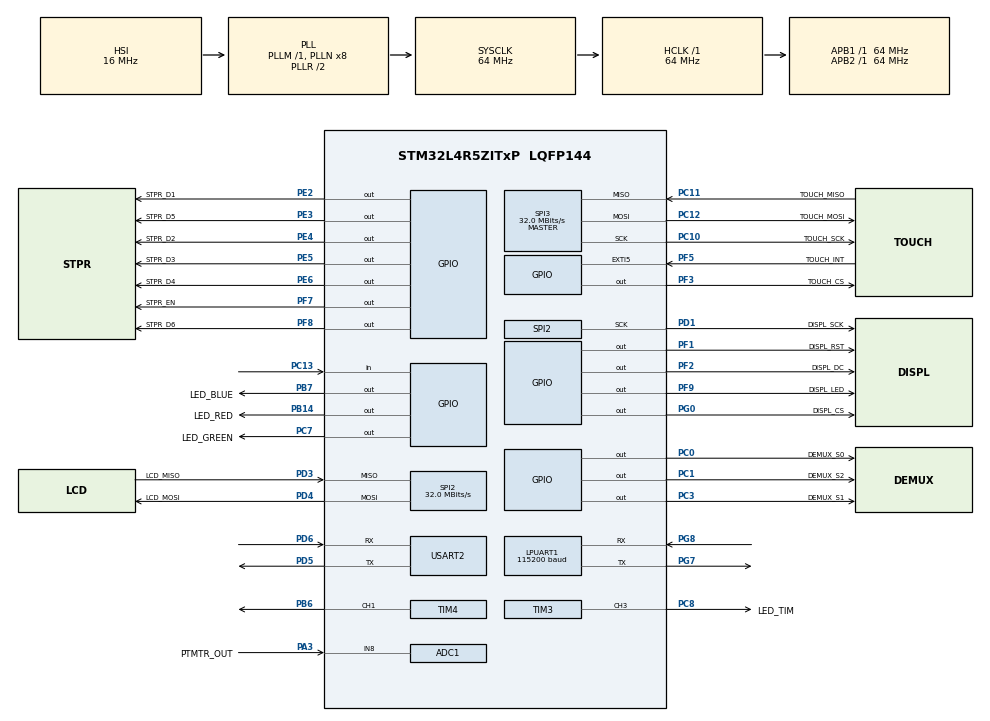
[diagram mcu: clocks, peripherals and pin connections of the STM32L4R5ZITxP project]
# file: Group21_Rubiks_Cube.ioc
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ADC1.Channel-0\#ChannelRegularConversion=ADC_CHANNEL_8
ADC1.ClockPrescaler=ADC_CLOCK_ASYNC_DIV32
ADC1.NbrOfConversionFlag=1
ADC1.OffsetNumber-0\#ChannelRegularConversion=ADC_OFFSET_NONE
ADC1.Rank-0\#ChannelRegularConversion=1
ADC1.SamplingTime-0\#ChannelRegularConversion=ADC_SAMPLETIME_640CYCLES_5
ADC1.master=1
Dma.Request0=TIM3_CH3
Dma.Request1=SPI2_TX
Dma.Request2=USART2_RX
Dma.Request3=USART2_TX
Dma.SPI2_TX.1.Direction=DMA_MEMORY_TO_PERIPH
Dma.SPI2_TX.1.EventEnable=DISABLE
Dma.SPI2_TX.1.Instance=DMA1_Channel2
Dma.SPI2_TX.1.MemDataAlignment=DMA_MDATAALIGN_BYTE
Dma.SPI2_TX.1.MemInc=DMA_MINC_ENABLE
Dma.SPI2_TX.1.Mode=DMA_NORMAL
Dma.SPI2_TX.1.PeriphDataAlignment=DMA_PDATAALIGN_BYTE
Dma.SPI2_TX.1.PeriphInc=DMA_PINC_DISABLE
Dma.SPI2_TX.1.Polarity=HAL_DMAMUX_REQUEST_GEN_RISING
Dma.SPI2_TX.1.Priority=DMA_PRIORITY_LOW
Dma.SPI2_TX.1.RequestNumber=1
Dma.SPI2_TX.1.SignalID=NONE
Dma.SPI2_TX.1.SyncEnable=DISABLE
Dma.SPI2_TX.1.SyncPolarity=HAL_DMAMUX_SYNC_NO_EVENT
Dma.SPI2_TX.1.SyncRequestNumber=1
Dma.SPI2_TX.1.SyncSignalID=NONE
Dma.TIM3_CH3.0.Direction=DMA_MEMORY_TO_PERIPH
Dma.TIM3_CH3.0.EventEnable=DISABLE
Dma.TIM3_CH3.0.Instance=DMA1_Channel1
Dma.TIM3_CH3.0.MemDataAlignment=DMA_MDATAALIGN_HALFWORD
Dma.TIM3_CH3.0.MemInc=DMA_MINC_ENABLE
Dma.TIM3_CH3.0.Mode=DMA_NORMAL
Dma.TIM3_CH3.0.PeriphDataAlignment=DMA_PDATAALIGN_HALFWORD
Dma.TIM3_CH3.0.PeriphInc=DMA_PINC_DISABLE
Dma.TIM3_CH3.0.Polarity=HAL_DMAMUX_REQUEST_GEN_RISING
Dma.TIM3_CH3.0.Priority=DMA_PRIORITY_LOW
Dma.TIM3_CH3.0.RequestNumber=1
Dma.TIM3_CH3.0.SignalID=NONE
Dma.TIM3_CH3.0.SyncEnable=DISABLE
Dma.TIM3_CH3.0.SyncPolarity=HAL_DMAMUX_SYNC_NO_EVENT
Dma.TIM3_CH3.0.SyncRequestNumber=1
Dma.TIM3_CH3.0.SyncSignalID=NONE
Dma.USART2_RX.2.Direction=DMA_PERIPH_TO_MEMORY
Dma.USART2_RX.2.EventEnable=DISABLE
Dma.USART2_RX.2.Instance=DMA1_Channel3
Dma.USART2_RX.2.MemDataAlignment=DMA_MDATAALIGN_BYTE
Dma.USART2_RX.2.MemInc=DMA_MINC_ENABLE
Dma.USART2_RX.2.Mode=DMA_NORMAL
Dma.USART2_RX.2.PeriphDataAlignment=DMA_PDATAALIGN_BYTE
Dma.USART2_RX.2.PeriphInc=DMA_PINC_DISABLE
Dma.USART2_RX.2.Polarity=HAL_DMAMUX_REQUEST_GEN_RISING
Dma.USART2_RX.2.Priority=DMA_PRIORITY_LOW
Dma.USART2_RX.2.RequestNumber=1
Dma.USART2_RX.2.SignalID=NONE
Dma.USART2_RX.2.SyncEnable=DISABLE
Dma.USART2_RX.2.SyncPolarity=HAL_DMAMUX_SYNC_NO_EVENT
Dma.USART2_RX.2.SyncRequestNumber=1
Dma.USART2_RX.2.SyncSignalID=NONE
Dma.USART2_TX.3.Direction=DMA_MEMORY_TO_PERIPH
Dma.USART2_TX.3.EventEnable=DISABLE
Dma.USART2_TX.3.Instance=DMA1_Channel4
Dma.USART2_TX.3.MemDataAlignment=DMA_MDATAALIGN_BYTE
Dma.USART2_TX.3.MemInc=DMA_MINC_ENABLE
Dma.USART2_TX.3.Mode=DMA_NORMAL
Dma.USART2_TX.3.PeriphDataAlignment=DMA_PDATAALIGN_BYTE
Dma.USART2_TX.3.PeriphInc=DMA_PINC_DISABLE
Dma.USART2_TX.3.Polarity=HAL_DMAMUX_REQUEST_GEN_RISING
Dma.USART2_TX.3.Priority=DMA_PRIORITY_LOW
Dma.USART2_TX.3.RequestNumber=1
Dma.USART2_TX.3.SignalID=NONE
Dma.USART2_TX.3.SyncEnable=DISABLE
Dma.USART2_TX.3.SyncPolarity=HAL_DMAMUX_SYNC_NO_EVENT
Dma.USART2_TX.3.SyncRequestNumber=1
Dma.USART2_TX.3.SyncSignalID=NONE
LPUART1.BaudRate=115200
LPUART1.WordLength=UART_WORDLENGTH_8B
Mcu.Family=STM32L4
Mcu.Name=STM32L4R5ZITxP
Mcu.Package=LQFP144
NVIC.DMA1_Channel1_IRQn=true\:0\:0\:false\:false\:true\:false\:true\:true
NVIC.DMA1_Channel2_IRQn=true\:0\:0\:false\:false\:true\:false\:true\:true
NVIC.DMA1_Channel3_IRQn=true\:0\:0\:false\:false\:true\:false\:true\:true
NVIC.DMA1_Channel4_IRQn=true\:0\:0\:false\:false\:true\:false\:true\:true
NVIC.EXTI9_5_IRQn=true\:0\:0\:false\:false\:true\:true\:true\:true
NVIC.PriorityGroup=NVIC_PRIORITYGROUP_4
NVIC.SPI2_IRQn=true\:0\:0\:false\:false\:true\:true\:true\:true
NVIC.SPI3_IRQn=true\:0\:0\:false\:false\:true\:true\:true\:true
NVIC.TIM4_IRQn=true\:0\:0\:false\:false\:true\:true\:true\:true
NVIC.USART2_IRQn=true\:0\:0\:false\:false\:true\:true\:true\:true
PA1.Signal=ADCx_IN6
PA10.Signal=USB_OTG_FS_ID
PA13\ (JTMS/SWDIO).Signal=SYS_JTMS-SWDIO
PA14\ (JTCK/SWCLK).Signal=SYS_JTCK-SWCLK
PA3.GPIO_Label=PTMTR_OUT
PA3.Signal=ADCx_IN8
PA8.Signal=USB_OTG_FS_SOF
PA9.Signal=USB_OTG_FS_VBUS
PB1.Signal=ADCx_IN16
PB10.Signal=S_TIM2_CH3
PB12.Signal=SAI2_FS_A
PB13.Signal=SAI2_SCK_A
PB14.GPIO_Label=LED_RED
PB14.Signal=GPIO_Output
PB15.Signal=SAI2_SD_A
PB2.Signal=COMP1_INP
PB6.Signal=S_TIM4_CH1
PB7.GPIO_Label=LED_BLUE
PB7.Signal=GPIO_Output
PB8.Signal=I2C1_SCL
PB9.Signal=I2C1_SDA
PC0.GPIO_Label=DEMUX_S0
PC0.Signal=GPIO_Output
PC1.GPIO_Label=DEMUX_S2
PC1.Signal=GPIO_Output
PC10.GPIO_Label=TOUCH_SCK
PC10.Mode=Full_Duplex_Master
PC10.Signal=SPI3_SCK
PC11.GPIO_Label=TOUCH_MISO
PC11.Mode=Full_Duplex_Master
PC11.Signal=SPI3_MISO
PC12.GPIO_Label=TOUCH_MOSI
PC12.Mode=Full_Duplex_Master
PC12.Signal=SPI3_MOSI
PC13.Signal=GPIO_Input
PC14-OSC32_IN\ (PC14).Signal=RCC_OSC32_IN
PC15-OSC32_OUT\ (PC15).Signal=RCC_OSC32_OUT
PC2.Signal=ADCx_IN3
PC3.GPIO_Label=DEMUX_S1
PC3.Signal=GPIO_Output
PC4.Signal=ADCx_IN13
PC5.Signal=ADCx_IN14
PC6.Signal=SAI2_MCLK_A
PC7.GPIO_Label=LED_GREEN
PC7.Signal=GPIO_Output
PC8.GPIO_Label=LED_TIM
PC8.Signal=S_TIM3_CH3
PC9.Signal=SDMMC1_D1
PD1.GPIO_Label=DISPL_SCK
PD1.Mode=Full_Duplex_Master
PD1.Signal=SPI2_SCK
PD14.Signal=S_TIM4_CH3
PD15.Signal=S_TIM4_CH4
PD2.Signal=SDMMC1_CMD
PD3.GPIO_Label=LCD_MISO
PD3.Mode=Full_Duplex_Master
PD3.Signal=SPI2_MISO
PD4.GPIO_Label=LCD_MOSI
PD4.Mode=Full_Duplex_Master
PD4.Signal=SPI2_MOSI
PD5.Mode=Asynchronous
PD5.Signal=USART2_TX
PD6.Mode=Asynchronous
PD6.Signal=USART2_RX
PD8.Signal=USART3_TX
PD9.Signal=USART3_RX
PE0.Signal=S_TIM4_ETR
PE10.Signal=TIM1_CH2N
PE11.Signal=S_TIM1_CH2
PE12.Signal=TIM1_CH3N
PE13.Signal=S_TIM1_CH3
PE14.Signal=TIM1_BKIN2
PE15.Signal=TIM1_BKIN
PE2.GPIO_Label=STPR_D1
PE2.Signal=GPIO_Output
PE3.GPIO_Label=STPR_D5
PE3.Signal=GPIO_Output
PE4.GPIO_Label=STPR_D2
PE4.Signal=GPIO_Output
PE5.GPIO_Label=STPR_D3
PE5.Signal=GPIO_Output
PE6.GPIO_Label=STPR_D4
PE6.Signal=GPIO_Output
PE7.Signal=S_TIM1_ETR
PE8.Signal=TIM1_CH1N
PE9.Signal=S_TIM1_CH1
PF0.Signal=I2C2_SDA
PF1.GPIO_Label=DISPL_RST
PF1.PinState=GPIO_PIN_SET
PF1.Signal=GPIO_Output
PF2.GPIO_Label=DISPL_DC
PF2.Signal=GPIO_Output
PF3.GPIO_Label=TOUCH_CS
PF3.PinState=GPIO_PIN_SET
PF3.Signal=GPIO_Output
PF5.GPIO_Label=TOUCH_INT
PF5.GPIO_ModeDefaultEXTI=GPIO_MODE_IT_FALLING
PF5.Signal=GPXTI5
PF7.GPIO_Label=STPR_EN
PF7.PinState=GPIO_PIN_SET
PF7.Signal=GPIO_Output
PF8.GPIO_Label=STPR_D6
PF8.Signal=GPIO_Output
PF9.GPIO_Label=DISPL_LED
PF9.Signal=GPIO_Output
PG0.GPIO_Label=DISPL_CS
PG0.PinState=GPIO_PIN_SET
PG0.Signal=GPIO_Output
PG7.Mode=Asynchronous
PG7.Signal=LPUART1_TX
PG8.Mode=Asynchronous
PG8.Signal=LPUART1_RX
PH0-OSC_IN\ (PH0).Signal=RCC_OSC_IN
PH1-OSC_OUT\ (PH1).Signal=RCC_OSC_OUT
ProjectManager.HeapSize=0x200
ProjectManager.StackSize=0x400
ProjectManager.TargetToolchain=STM32CubeIDE
RCC.ADCFreq_Value=64000000
RCC.AHBFreq_Value=64000000
RCC.APB1Freq_Value=64000000
RCC.APB1TimFreq_Value=64000000
RCC.APB2Freq_Value=64000000
RCC.APB2TimFreq_Value=64000000
RCC.CortexFreq_Value=64000000
RCC.HCLKFreq_Value=64000000
RCC.HSE_VALUE=8000000
RCC.HSI48_VALUE=48000000
RCC.HSI_VALUE=16000000
RCC.LSE_VALUE=32768
RCC.MSI_VALUE=4000000
RCC.PLLSourceVirtual=RCC_PLLSOURCE_HSI
RCC.SYSCLKFreq_VALUE=64000000
RCC.SYSCLKSource=RCC_SYSCLKSOURCE_PLLCLK
RCC.USBFreq_Value=64000000
RCC.VCOOutputFreq_Value=128000000
SH.ADCx_IN13.0=ADC1_IN13
SH.ADCx_IN14.0=ADC1_IN14
SH.ADCx_IN16.0=ADC1_IN16
SH.ADCx_IN3.0=ADC1_IN3
SH.ADCx_IN6.0=ADC1_IN6
SH.ADCx_IN8.0=ADC1_IN8,IN8-Single-Ended
SH.S_TIM1_CH1.0=TIM1_CH1
SH.S_TIM1_CH2.0=TIM1_CH2
SH.S_TIM1_CH3.0=TIM1_CH3
SH.S_TIM1_ETR.0=TIM1_ETR
SH.S_TIM2_CH3.0=TIM2_CH3
SH.S_TIM3_CH3.0=TIM3_CH3,PWM Generation3 CH3
SH.S_TIM4_CH1.0=TIM4_CH1,PWM Generation1 CH1
SH.S_TIM4_CH3.0=TIM4_CH3
SH.S_TIM4_CH4.0=TIM4_CH4
SH.S_TIM4_ETR.0=TIM4_ETR
SPI2.BaudRatePrescaler=SPI_BAUDRATEPRESCALER_2
SPI2.CalculateBaudRate=32.0 MBits/s
SPI2.DataSize=SPI_DATASIZE_8BIT
SPI2.Direction=SPI_DIRECTION_2LINES
SPI2.Mode=SPI_MODE_MASTER
SPI2.VirtualType=VM_MASTER
SPI3.CalculateBaudRate=32.0 MBits/s
SPI3.DataSize=SPI_DATASIZE_8BIT
SPI3.Direction=SPI_DIRECTION_2LINES
SPI3.Mode=SPI_MODE_MASTER
SPI3.VirtualType=VM_MASTER
TIM3.Channel-PWM\ Generation3\ CH3=TIM_CHANNEL_3
TIM3.Period=79
TIM4.Channel-PWM\ Generation1\ CH1=TIM_CHANNEL_1
TIM4.Period=3999
TIM4.Prescaler=15
TIM4.Pulse-PWM\ Generation1\ CH1=2000
USART2.VirtualMode-Asynchronous=VM_ASYNC
VP_TIM15_VS_ClockSourceINT.Mode=Internal
VP_TIM3_VS_ClockSourceINT.Mode=Internal
VP_TIM4_VS_ClockSourceINT.Mode=Internal
board=NUCLEO-L4R5ZI-P

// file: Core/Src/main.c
/* USER CODE BEGIN Header */
/**
  ******************************************************************************
  * @file           : main.c
  * @brief          : Main program body
  ******************************************************************************
  * @attention
  *
  * Copyright (c) 2026 STMicroelectronics.
  * All rights reserved.
  *
  * This software is licensed under terms that can be found in the LICENSE file
  * in the root directory of this software component.
  * If no LICENSE file comes with this software, it is provided AS-IS.
  *
  ******************************************************************************
  */
/* USER CODE END Header */
#include "main.h"

/* USER CODE BEGIN Includes */
#include <stdio.h>
#include "motor.h"
#include "test_suite.h"
#include "screen.h"
#include "NeoPixel.h"

/* USER CODE END Includes */

ADC_HandleTypeDef hadc1;

UART_HandleTypeDef hlpuart1;
UART_HandleTypeDef huart2;
DMA_HandleTypeDef hdma_usart2_rx;
DMA_HandleTypeDef hdma_usart2_tx;

SPI_HandleTypeDef hspi2;
SPI_HandleTypeDef hspi3;
DMA_HandleTypeDef hdma_spi2_tx;

TIM_HandleTypeDef htim3;
TIM_HandleTypeDef htim4;
TIM_HandleTypeDef htim15;
DMA_HandleTypeDef hdma_tim3_ch3;

void SystemClock_Config(void);
static void MX_GPIO_Init(void);
static void MX_DMA_Init(void);
static void MX_ADC1_Init(void);
static void MX_SPI2_Init(void);
static void MX_SPI3_Init(void);
static void MX_TIM3_Init(void);
static void MX_TIM4_Init(void);
static void MX_TIM15_Init(void);
static void MX_USART2_UART_Init(void);
static void MX_LPUART1_UART_Init(void);

/* USER CODE BEGIN 0 */
uint8_t prev_mode = 0;
uint8_t pretty_pattern_selected = 0;
uint8_t solve_state = 0;
uint8_t solve_mode = 5;
uint8_t step_by_step_state = 0;
uint8_t total_moves = 0;
uint8_t current_move = 0;

//UART  buffers and variables
uint8_t tx_start[] = "Start";
uint8_t rx_kociemba[64];                           // Buffer for Pi response
char kociemba_string[64];                          // For use in your function
uint8_t volatile solve_ready_flag = 0;
/* USER CODE END 0 */

int main(void)
{

  /* USER CODE BEGIN 1 */
	// ---- SOLVE MODE ----
	void mode1() {
	    if(prev_mode != 1) {
			Displ_CLS(BLACK);	 //clear display
			solve_state = 0;
			Load_Cube();
			solve_mode_display();
		}
	    // poll for touch
	    if(solve_state == 0){
	    	solve_mode_touch();
	    }

	    // If we have already pressed a button and are waiting for the Pi
		else if (solve_state == 1) {
			if (solve_ready_flag == 1) {
				// THE PI RESPONDED!
				cube_solving_helper(NORMAL);

				solve_ready_flag = 0; // Clear flag
				solve_state = 2;
			}
		}
		// If we are on the reshuffle screen
		else if (solve_state == 2) {
			solve_mode_touch(); // should handle reshuffle
		}
	}

	// ---- STEP-BY-STEP ----
	void mode2() {
		//Party_LED();
	    if(prev_mode != 2) {
			Displ_CLS(BLACK);	 //clear display
			step_by_step_state = 0;
			Load_Cube();
			step_by_step_start_display();
		}

	    // poll for touch regardless of state
		//if(step_by_step_state == 0 || step_by_step_state == 2){
		step_by_step_touch();

		// If we have already pressed a button and are waiting for the Pi
		if (step_by_step_state == 1) {
			if (solve_ready_flag == 1) {
				// THE PI RESPONDED!
				solve_ready_flag = 0; // Clear flag
				step_by_step_state = 1;
				step_by_step_solver();
			}
		}

	}

	// ----PRETTY PATTERNS ----
	// CUBE MUST BE SOLVED
	void mode3() {
		if(prev_mode !=3) {
			All_White();
			Displ_CLS(BLACK);	 //clear display
			//TODO add check for solved state??
			pretty_pattern_selected = 0; //reset every time mode is changed
			pattern_mode_display();

		}
		pattern_mode_touch();
	}

	// ---- MANUAL MODE ----
	void mode4() {
	    if(prev_mode != 4){
	    	All_White();
			Displ_CLS(BLACK);	 //clear display
			manual_display();
	    }
	    // poll for touch
	    manual_mode_touch();
	}

  /* USER CODE END 1 */

  /* MCU Configuration--------------------------------------------------------*/

  /* Reset of all peripherals, Initializes the Flash interface and the Systick. */
  HAL_Init();

  /* USER CODE BEGIN Init */
  Motor m1;
  Motor m2;
  Motor m3;
  Motor m4;
  Motor m5;
  Motor m6;
  Motor_Init(&htim4, &m1, MOTOR_1);
  Motor_Init(&htim4, &m2, MOTOR_2);
  Motor_Init(&htim4, &m3, MOTOR_3);
  Motor_Init(&htim4, &m4, MOTOR_4);
  Motor_Init(&htim4, &m5, MOTOR_5);
  Motor_Init(&htim4, &m6, MOTOR_6);

  Cube_Init(&m1, &m2, &m3, &m4, &m5, &m6);
  /* USER CODE END Init */

  /* Configure the system clock */
  SystemClock_Config();

  /* Initialize all configured peripherals */
  MX_GPIO_Init();
  MX_DMA_Init();
  MX_ADC1_Init();
  MX_SPI2_Init();
  MX_SPI3_Init();
  MX_TIM3_Init();
  MX_TIM4_Init();
  MX_TIM15_Init();
  MX_USART2_UART_Init();
  MX_LPUART1_UART_Init();
  /* USER CODE BEGIN 2 */
  //LCD backlight initialization
  Displ_Init(Displ_Orientat_180);			// initialize display controller
  Displ_CLS(BLACK);							// clear the screen
  Displ_BackLight('I');  					// initialize backlight
  Displ_BackLight('1');						// light-up display at max light level
  //set lights to starting setting
  Load_Cube();

  //HAL_UART_Transmit(&huart2, (uint8_t*)"HELLO\r\n", 7, 100);
  /* USER CODE END 2 */

  /* Infinite loop */
  /* USER CODE BEGIN WHILE */
  while (1)
  {
		//code below !
		uint32_t ADC_VAL = 0;
		HAL_ADC_Start(&hadc1);//start conversion
		HAL_ADC_PollForConversion(&hadc1, 0xFFFFFFFF);//wait for conversion to finish
		ADC_VAL = HAL_ADC_GetValue(&hadc1);//retrieve value

		int mode = (ADC_VAL / 1024) + 1; // four modes (1-4)
		switch(mode){
		case 1:
		  mode4();
		  g_solve_mode = INV;

		  prev_mode = 4;
		  break;
		case 2:
		  mode3();
		  g_solve_mode = INV;
		  prev_mode = 3;
		  break;
		case 3:
		  mode2();
		  g_solve_mode = INV;
		  prev_mode = 2;
		  break;
		default: // else
		  mode1();
		  prev_mode = 1;
		  break;
		}

    /* USER CODE END WHILE */

  }
}

void SystemClock_Config(void)
{
  RCC_OscInitTypeDef RCC_OscInitStruct = {0};
  RCC_ClkInitTypeDef RCC_ClkInitStruct = {0};

  /** Configure the main internal regulator output voltage
  */
  if (HAL_PWREx_ControlVoltageScaling(PWR_REGULATOR_VOLTAGE_SCALE1) != HAL_OK)
  {
    Error_Handler();
  }

  /** Initializes the RCC Oscillators according to the specified parameters
  * in the RCC_OscInitTypeDef structure.
  */
  RCC_OscInitStruct.OscillatorType = RCC_OSCILLATORTYPE_HSI;
  RCC_OscInitStruct.HSIState = RCC_HSI_ON;
  RCC_OscInitStruct.HSICalibrationValue = RCC_HSICALIBRATION_DEFAULT;
  RCC_OscInitStruct.PLL.PLLState = RCC_PLL_ON;
  RCC_OscInitStruct.PLL.PLLSource = RCC_PLLSOURCE_HSI;
  RCC_OscInitStruct.PLL.PLLM = 1;
  RCC_OscInitStruct.PLL.PLLN = 8;
  RCC_OscInitStruct.PLL.PLLP = RCC_PLLP_DIV2;
  RCC_OscInitStruct.PLL.PLLQ = RCC_PLLQ_DIV2;
  RCC_OscInitStruct.PLL.PLLR = RCC_PLLR_DIV2;
  if (HAL_RCC_OscConfig(&RCC_OscInitStruct) != HAL_OK)
  {
    Error_Handler();
  }

  /** Initializes the CPU, AHB and APB buses clocks
  */
  RCC_ClkInitStruct.ClockType = RCC_CLOCKTYPE_HCLK|RCC_CLOCKTYPE_SYSCLK
                              |RCC_CLOCKTYPE_PCLK1|RCC_CLOCKTYPE_PCLK2;
  RCC_ClkInitStruct.SYSCLKSource = RCC_SYSCLKSOURCE_PLLCLK;
  RCC_ClkInitStruct.AHBCLKDivider = RCC_SYSCLK_DIV1;
  RCC_ClkInitStruct.APB1CLKDivider = RCC_HCLK_DIV1;
  RCC_ClkInitStruct.APB2CLKDivider = RCC_HCLK_DIV1;

  if (HAL_RCC_ClockConfig(&RCC_ClkInitStruct, FLASH_LATENCY_3) != HAL_OK)
  {
    Error_Handler();
  }
}

static void MX_ADC1_Init(void)
{

  ADC_ChannelConfTypeDef sConfig = {0};

  /** Common config
  */
  hadc1.Instance = ADC1;
  hadc1.Init.ClockPrescaler = ADC_CLOCK_ASYNC_DIV32;
  hadc1.Init.Resolution = ADC_RESOLUTION_12B;
  hadc1.Init.DataAlign = ADC_DATAALIGN_RIGHT;
  hadc1.Init.ScanConvMode = ADC_SCAN_DISABLE;
  hadc1.Init.EOCSelection = ADC_EOC_SINGLE_CONV;
  hadc1.Init.LowPowerAutoWait = DISABLE;
  hadc1.Init.ContinuousConvMode = DISABLE;
  hadc1.Init.NbrOfConversion = 1;
  hadc1.Init.DiscontinuousConvMode = DISABLE;
  hadc1.Init.ExternalTrigConv = ADC_SOFTWARE_START;
  hadc1.Init.ExternalTrigConvEdge = ADC_EXTERNALTRIGCONVEDGE_NONE;
  hadc1.Init.DMAContinuousRequests = DISABLE;
  hadc1.Init.Overrun = ADC_OVR_DATA_PRESERVED;
  hadc1.Init.OversamplingMode = DISABLE;
  if (HAL_ADC_Init(&hadc1) != HAL_OK)
  {
    Error_Handler();
  }

  /** Configure Regular Channel
  */
  sConfig.Channel = ADC_CHANNEL_8;
  sConfig.Rank = ADC_REGULAR_RANK_1;
  sConfig.SamplingTime = ADC_SAMPLETIME_640CYCLES_5;
  sConfig.SingleDiff = ADC_SINGLE_ENDED;
  sConfig.OffsetNumber = ADC_OFFSET_NONE;
  sConfig.Offset = 0;
  if (HAL_ADC_ConfigChannel(&hadc1, &sConfig) != HAL_OK)
  {
    Error_Handler();
  }

}

static void MX_LPUART1_UART_Init(void)
{

  hlpuart1.Instance = LPUART1;
  hlpuart1.Init.BaudRate = 115200;
  hlpuart1.Init.WordLength = UART_WORDLENGTH_8B;
  hlpuart1.Init.StopBits = UART_STOPBITS_1;
  hlpuart1.Init.Parity = UART_PARITY_NONE;
  hlpuart1.Init.Mode = UART_MODE_TX_RX;
  hlpuart1.Init.HwFlowCtl = UART_HWCONTROL_NONE;
  hlpuart1.Init.OneBitSampling = UART_ONE_BIT_SAMPLE_DISABLE;
  hlpuart1.Init.ClockPrescaler = UART_PRESCALER_DIV1;
  hlpuart1.AdvancedInit.AdvFeatureInit = UART_ADVFEATURE_NO_INIT;
  hlpuart1.FifoMode = UART_FIFOMODE_DISABLE;
  if (HAL_UART_Init(&hlpuart1) != HAL_OK)
  {
    Error_Handler();
  }
  if (HAL_UARTEx_SetTxFifoThreshold(&hlpuart1, UART_TXFIFO_THRESHOLD_1_8) != HAL_OK)
  {
    Error_Handler();
  }
  if (HAL_UARTEx_SetRxFifoThreshold(&hlpuart1, UART_RXFIFO_THRESHOLD_1_8) != HAL_OK)
  {
    Error_Handler();
  }
  if (HAL_UARTEx_DisableFifoMode(&hlpuart1) != HAL_OK)
  {
    Error_Handler();
  }

}

static void MX_USART2_UART_Init(void)
{

  huart2.Instance = USART2;
  huart2.Init.BaudRate = 115200;
  huart2.Init.WordLength = UART_WORDLENGTH_8B;
  huart2.Init.StopBits = UART_STOPBITS_1;
  huart2.Init.Parity = UART_PARITY_NONE;
  huart2.Init.Mode = UART_MODE_TX_RX;
  huart2.Init.HwFlowCtl = UART_HWCONTROL_NONE;
  huart2.Init.OverSampling = UART_OVERSAMPLING_16;
  huart2.Init.OneBitSampling = UART_ONE_BIT_SAMPLE_DISABLE;
  huart2.Init.ClockPrescaler = UART_PRESCALER_DIV1;
  huart2.AdvancedInit.AdvFeatureInit = UART_ADVFEATURE_NO_INIT;
  if (HAL_UART_Init(&huart2) != HAL_OK)
  {
    Error_Handler();
  }
  if (HAL_UARTEx_SetTxFifoThreshold(&huart2, UART_TXFIFO_THRESHOLD_1_8) != HAL_OK)
  {
    Error_Handler();
  }
  if (HAL_UARTEx_SetRxFifoThreshold(&huart2, UART_RXFIFO_THRESHOLD_1_8) != HAL_OK)
  {
    Error_Handler();
  }
  if (HAL_UARTEx_DisableFifoMode(&huart2) != HAL_OK)
  {
    Error_Handler();
  }

}

static void MX_SPI2_Init(void)
{

  /* SPI2 parameter configuration*/
  hspi2.Instance = SPI2;
  hspi2.Init.Mode = SPI_MODE_MASTER;
  hspi2.Init.Direction = SPI_DIRECTION_2LINES;
  hspi2.Init.DataSize = SPI_DATASIZE_8BIT;
  hspi2.Init.CLKPolarity = SPI_POLARITY_LOW;
  hspi2.Init.CLKPhase = SPI_PHASE_1EDGE;
  hspi2.Init.NSS = SPI_NSS_SOFT;
  hspi2.Init.BaudRatePrescaler = SPI_BAUDRATEPRESCALER_2;
  hspi2.Init.FirstBit = SPI_FIRSTBIT_MSB;
  hspi2.Init.TIMode = SPI_TIMODE_DISABLE;
  hspi2.Init.CRCCalculation = SPI_CRCCALCULATION_DISABLE;
  hspi2.Init.CRCPolynomial = 7;
  hspi2.Init.CRCLength = SPI_CRC_LENGTH_DATASIZE;
  hspi2.Init.NSSPMode = SPI_NSS_PULSE_ENABLE;
  if (HAL_SPI_Init(&hspi2) != HAL_OK)
  {
    Error_Handler();
  }

}

static void MX_SPI3_Init(void)
{

  /* SPI3 parameter configuration*/
  hspi3.Instance = SPI3;
  hspi3.Init.Mode = SPI_MODE_MASTER;
  hspi3.Init.Direction = SPI_DIRECTION_2LINES;
  hspi3.Init.DataSize = SPI_DATASIZE_8BIT;
  hspi3.Init.CLKPolarity = SPI_POLARITY_LOW;
  hspi3.Init.CLKPhase = SPI_PHASE_1EDGE;
  hspi3.Init.NSS = SPI_NSS_SOFT;
  hspi3.Init.BaudRatePrescaler = SPI_BAUDRATEPRESCALER_2;
  hspi3.Init.FirstBit = SPI_FIRSTBIT_MSB;
  hspi3.Init.TIMode = SPI_TIMODE_DISABLE;
  hspi3.Init.CRCCalculation = SPI_CRCCALCULATION_DISABLE;
  hspi3.Init.CRCPolynomial = 7;
  hspi3.Init.CRCLength = SPI_CRC_LENGTH_DATASIZE;
  hspi3.Init.NSSPMode = SPI_NSS_PULSE_ENABLE;
  if (HAL_SPI_Init(&hspi3) != HAL_OK)
  {
    Error_Handler();
  }

}

static void MX_TIM3_Init(void)
{

  TIM_ClockConfigTypeDef sClockSourceConfig = {0};
  TIM_MasterConfigTypeDef sMasterConfig = {0};
  TIM_OC_InitTypeDef sConfigOC = {0};

  htim3.Instance = TIM3;
  htim3.Init.Prescaler = 0;
  htim3.Init.CounterMode = TIM_COUNTERMODE_UP;
  htim3.Init.Period = 79;
  htim3.Init.ClockDivision = TIM_CLOCKDIVISION_DIV1;
  htim3.Init.AutoReloadPreload = TIM_AUTORELOAD_PRELOAD_DISABLE;
  if (HAL_TIM_Base_Init(&htim3) != HAL_OK)
  {
    Error_Handler();
  }
  sClockSourceConfig.ClockSource = TIM_CLOCKSOURCE_INTERNAL;
  if (HAL_TIM_ConfigClockSource(&htim3, &sClockSourceConfig) != HAL_OK)
  {
    Error_Handler();
  }
  if (HAL_TIM_PWM_Init(&htim3) != HAL_OK)
  {
    Error_Handler();
  }
  sMasterConfig.MasterOutputTrigger = TIM_TRGO_RESET;
  sMasterConfig.MasterSlaveMode = TIM_MASTERSLAVEMODE_DISABLE;
  if (HAL_TIMEx_MasterConfigSynchronization(&htim3, &sMasterConfig) != HAL_OK)
  {
    Error_Handler();
  }
  sConfigOC.OCMode = TIM_OCMODE_PWM1;
  sConfigOC.Pulse = 0;
  sConfigOC.OCPolarity = TIM_OCPOLARITY_HIGH;
  sConfigOC.OCFastMode = TIM_OCFAST_DISABLE;
  if (HAL_TIM_PWM_ConfigChannel(&htim3, &sConfigOC, TIM_CHANNEL_3) != HAL_OK)
  {
    Error_Handler();
  }
  HAL_TIM_MspPostInit(&htim3);

}

static void MX_TIM4_Init(void)
{

  TIM_ClockConfigTypeDef sClockSourceConfig = {0};
  TIM_MasterConfigTypeDef sMasterConfig = {0};
  TIM_OC_InitTypeDef sConfigOC = {0};

  htim4.Instance = TIM4;
  htim4.Init.Prescaler = 15;
  htim4.Init.CounterMode = TIM_COUNTERMODE_UP;
  htim4.Init.Period = 3999;
  htim4.Init.ClockDivision = TIM_CLOCKDIVISION_DIV1;
  htim4.Init.AutoReloadPreload = TIM_AUTORELOAD_PRELOAD_DISABLE;
  if (HAL_TIM_Base_Init(&htim4) != HAL_OK)
  {
    Error_Handler();
  }
  sClockSourceConfig.ClockSource = TIM_CLOCKSOURCE_INTERNAL;
  if (HAL_TIM_ConfigClockSource(&htim4, &sClockSourceConfig) != HAL_OK)
  {
    Error_Handler();
  }
  if (HAL_TIM_PWM_Init(&htim4) != HAL_OK)
  {
    Error_Handler();
  }
  sMasterConfig.MasterOutputTrigger = TIM_TRGO_RESET;
  sMasterConfig.MasterSlaveMode = TIM_MASTERSLAVEMODE_DISABLE;
  if (HAL_TIMEx_MasterConfigSynchronization(&htim4, &sMasterConfig) != HAL_OK)
  {
    Error_Handler();
  }
  sConfigOC.OCMode = TIM_OCMODE_PWM1;
  sConfigOC.Pulse = 2000;
  sConfigOC.OCPolarity = TIM_OCPOLARITY_HIGH;
  sConfigOC.OCFastMode = TIM_OCFAST_DISABLE;
  if (HAL_TIM_PWM_ConfigChannel(&htim4, &sConfigOC, TIM_CHANNEL_1) != HAL_OK)
  {
    Error_Handler();
  }
  HAL_TIM_MspPostInit(&htim4);

}

static void MX_TIM15_Init(void)
{

  TIM_ClockConfigTypeDef sClockSourceConfig = {0};
  TIM_MasterConfigTypeDef sMasterConfig = {0};

  htim15.Instance = TIM15;
  htim15.Init.Prescaler = 0;
  htim15.Init.CounterMode = TIM_COUNTERMODE_UP;
  htim15.Init.Period = 65535;
  htim15.Init.ClockDivision = TIM_CLOCKDIVISION_DIV1;
  htim15.Init.RepetitionCounter = 0;
  htim15.Init.AutoReloadPreload = TIM_AUTORELOAD_PRELOAD_DISABLE;
  if (HAL_TIM_Base_Init(&htim15) != HAL_OK)
  {
    Error_Handler();
  }
  sClockSourceConfig.ClockSource = TIM_CLOCKSOURCE_INTERNAL;
  if (HAL_TIM_ConfigClockSource(&htim15, &sClockSourceConfig) != HAL_OK)
  {
    Error_Handler();
  }
  sMasterConfig.MasterOutputTrigger = TIM_TRGO_RESET;
  sMasterConfig.MasterSlaveMode = TIM_MASTERSLAVEMODE_DISABLE;
  if (HAL_TIMEx_MasterConfigSynchronization(&htim15, &sMasterConfig) != HAL_OK)
  {
    Error_Handler();
  }

}

static void MX_DMA_Init(void)
{

  /* DMA controller clock enable */
  __HAL_RCC_DMAMUX1_CLK_ENABLE();
  __HAL_RCC_DMA1_CLK_ENABLE();

  /* DMA interrupt init */
  /* DMA1_Channel1_IRQn interrupt configuration */
  HAL_NVIC_SetPriority(DMA1_Channel1_IRQn, 0, 0);
  HAL_NVIC_EnableIRQ(DMA1_Channel1_IRQn);
  /* DMA1_Channel2_IRQn interrupt configuration */
  HAL_NVIC_SetPriority(DMA1_Channel2_IRQn, 0, 0);
  HAL_NVIC_EnableIRQ(DMA1_Channel2_IRQn);
  /* DMA1_Channel3_IRQn interrupt configuration */
  HAL_NVIC_SetPriority(DMA1_Channel3_IRQn, 0, 0);
  HAL_NVIC_EnableIRQ(DMA1_Channel3_IRQn);
  /* DMA1_Channel4_IRQn interrupt configuration */
  HAL_NVIC_SetPriority(DMA1_Channel4_IRQn, 0, 0);
  HAL_NVIC_EnableIRQ(DMA1_Channel4_IRQn);

}

static void MX_GPIO_Init(void)
{
  GPIO_InitTypeDef GPIO_InitStruct = {0};

  /* GPIO Ports Clock Enable */
  __HAL_RCC_GPIOE_CLK_ENABLE();
  __HAL_RCC_GPIOC_CLK_ENABLE();
  __HAL_RCC_GPIOF_CLK_ENABLE();
  __HAL_RCC_GPIOH_CLK_ENABLE();
  __HAL_RCC_GPIOA_CLK_ENABLE();
  __HAL_RCC_GPIOB_CLK_ENABLE();
  __HAL_RCC_GPIOG_CLK_ENABLE();
  __HAL_RCC_GPIOD_CLK_ENABLE();
  HAL_PWREx_EnableVddIO2();

  /*Configure GPIO pin Output Level */
  HAL_GPIO_WritePin(GPIOE, STPR_D1_Pin|STPR_D5_Pin|STPR_D2_Pin|STPR_D3_Pin
                          |STPR_D4_Pin, GPIO_PIN_RESET);

  /*Configure GPIO pin Output Level */
  HAL_GPIO_WritePin(GPIOF, DISPL_RST_Pin|TOUCH_CS_Pin|STPR_EN_Pin, GPIO_PIN_SET);

  /*Configure GPIO pin Output Level */
  HAL_GPIO_WritePin(GPIOF, DISPL_DC_Pin|STPR_D6_Pin|DISPL_LED_Pin, GPIO_PIN_RESET);

  /*Configure GPIO pin Output Level */
  HAL_GPIO_WritePin(GPIOC, DEMUX_S0_Pin|DEMUX_S2_Pin|DEMUX_S1_Pin|LED_GREEN_Pin, GPIO_PIN_RESET);

  /*Configure GPIO pin Output Level */
  HAL_GPIO_WritePin(DISPL_CS_GPIO_Port, DISPL_CS_Pin, GPIO_PIN_SET);

  /*Configure GPIO pin Output Level */
  HAL_GPIO_WritePin(GPIOB, LED_RED_Pin|LED_BLUE_Pin, GPIO_PIN_RESET);

  /*Configure GPIO pins : STPR_D1_Pin STPR_D5_Pin STPR_D2_Pin STPR_D3_Pin
                           STPR_D4_Pin */
  GPIO_InitStruct.Pin = STPR_D1_Pin|STPR_D5_Pin|STPR_D2_Pin|STPR_D3_Pin
                          |STPR_D4_Pin;
  GPIO_InitStruct.Mode = GPIO_MODE_OUTPUT_PP;
  GPIO_InitStruct.Pull = GPIO_NOPULL;
  GPIO_InitStruct.Speed = GPIO_SPEED_FREQ_LOW;
  HAL_GPIO_Init(GPIOE, &GPIO_InitStruct);

  /*Configure GPIO pin : PC13 */
  GPIO_InitStruct.Pin = GPIO_PIN_13;
  GPIO_InitStruct.Mode = GPIO_MODE_INPUT;
  GPIO_InitStruct.Pull = GPIO_NOPULL;
  HAL_GPIO_Init(GPIOC, &GPIO_InitStruct);

  /*Configure GPIO pin : PF0 */
  GPIO_InitStruct.Pin = GPIO_PIN_0;
  GPIO_InitStruct.Mode = GPIO_MODE_AF_OD;
  GPIO_InitStruct.Pull = GPIO_NOPULL;
  GPIO_InitStruct.Speed = GPIO_SPEED_FREQ_VERY_HIGH;
  GPIO_InitStruct.Alternate = GPIO_AF4_I2C2;
  HAL_GPIO_Init(GPIOF, &GPIO_InitStruct);

  /*Configure GPIO pins : DISPL_RST_Pin DISPL_DC_Pin TOUCH_CS_Pin STPR_EN_Pin
                           STPR_D6_Pin DISPL_LED_Pin */
  GPIO_InitStruct.Pin = DISPL_RST_Pin|DISPL_DC_Pin|TOUCH_CS_Pin|STPR_EN_Pin
                          |STPR_D6_Pin|DISPL_LED_Pin;
  GPIO_InitStruct.Mode = GPIO_MODE_OUTPUT_PP;
  GPIO_InitStruct.Pull = GPIO_NOPULL;
  GPIO_InitStruct.Speed = GPIO_SPEED_FREQ_LOW;
  HAL_GPIO_Init(GPIOF, &GPIO_InitStruct);

  /*Configure GPIO pin : TOUCH_INT_Pin */
  GPIO_InitStruct.Pin = TOUCH_INT_Pin;
  GPIO_InitStruct.Mode = GPIO_MODE_IT_FALLING;
  GPIO_InitStruct.Pull = GPIO_NOPULL;
  HAL_GPIO_Init(TOUCH_INT_GPIO_Port, &GPIO_InitStruct);

  /*Configure GPIO pins : DEMUX_S0_Pin DEMUX_S2_Pin DEMUX_S1_Pin LED_GREEN_Pin */
  GPIO_InitStruct.Pin = DEMUX_S0_Pin|DEMUX_S2_Pin|DEMUX_S1_Pin|LED_GREEN_Pin;
  GPIO_InitStruct.Mode = GPIO_MODE_OUTPUT_PP;
  GPIO_InitStruct.Pull = GPIO_NOPULL;
  GPIO_InitStruct.Speed = GPIO_SPEED_FREQ_LOW;
  HAL_GPIO_Init(GPIOC, &GPIO_InitStruct);

  /*Configure GPIO pin : PB2 */
  GPIO_InitStruct.Pin = GPIO_PIN_2;
  GPIO_InitStruct.Mode = GPIO_MODE_ANALOG;
  GPIO_InitStruct.Pull = GPIO_NOPULL;
  HAL_GPIO_Init(GPIOB, &GPIO_InitStruct);

  /*Configure GPIO pin : DISPL_CS_Pin */
  GPIO_InitStruct.Pin = DISPL_CS_Pin;
  GPIO_InitStruct.Mode = GPIO_MODE_OUTPUT_PP;
  GPIO_InitStruct.Pull = GPIO_NOPULL;
  GPIO_InitStruct.Speed = GPIO_SPEED_FREQ_LOW;
  HAL_GPIO_Init(DISPL_CS_GPIO_Port, &GPIO_InitStruct);

  /*Configure GPIO pins : PE7 PE8 PE9 PE10
                           PE11 PE12 PE13 */
  GPIO_InitStruct.Pin = GPIO_PIN_7|GPIO_PIN_8|GPIO_PIN_9|GPIO_PIN_10
                          |GPIO_PIN_11|GPIO_PIN_12|GPIO_PIN_13;
  GPIO_InitStruct.Mode = GPIO_MODE_AF_PP;
  GPIO_InitStruct.Pull = GPIO_NOPULL;
  GPIO_InitStruct.Speed = GPIO_SPEED_FREQ_LOW;
  GPIO_InitStruct.Alternate = GPIO_AF1_TIM1;
  HAL_GPIO_Init(GPIOE, &GPIO_InitStruct);

  /*Configure GPIO pins : PE14 PE15 */
  GPIO_InitStruct.Pin = GPIO_PIN_14|GPIO_PIN_15;
  GPIO_InitStruct.Mode = GPIO_MODE_AF_PP;
  GPIO_InitStruct.Pull = GPIO_NOPULL;
  GPIO_InitStruct.Speed = GPIO_SPEED_FREQ_LOW;
  GPIO_InitStruct.Alternate = GPIO_AF3_TIM1_COMP1;
  HAL_GPIO_Init(GPIOE, &GPIO_InitStruct);

  /*Configure GPIO pin : PB10 */
  GPIO_InitStruct.Pin = GPIO_PIN_10;
  GPIO_InitStruct.Mode = GPIO_MODE_AF_PP;
  GPIO_InitStruct.Pull = GPIO_NOPULL;
  GPIO_InitStruct.Speed = GPIO_SPEED_FREQ_LOW;
  GPIO_InitStruct.Alternate = GPIO_AF1_TIM2;
  HAL_GPIO_Init(GPIOB, &GPIO_InitStruct);

  /*Configure GPIO pins : PB12 PB13 PB15 */
  GPIO_InitStruct.Pin = GPIO_PIN_12|GPIO_PIN_13|GPIO_PIN_15;
  GPIO_InitStruct.Mode = GPIO_MODE_AF_PP;
  GPIO_InitStruct.Pull = GPIO_NOPULL;
  GPIO_InitStruct.Speed = GPIO_SPEED_FREQ_LOW;
  GPIO_InitStruct.Alternate = GPIO_AF13_SAI2;
  HAL_GPIO_Init(GPIOB, &GPIO_InitStruct);

  /*Configure GPIO pins : LED_RED_Pin LED_BLUE_Pin */
  GPIO_InitStruct.Pin = LED_RED_Pin|LED_BLUE_Pin;
  GPIO_InitStruct.Mode = GPIO_MODE_OUTPUT_PP;
  GPIO_InitStruct.Pull = GPIO_NOPULL;
  GPIO_InitStruct.Speed = GPIO_SPEED_FREQ_LOW;
  HAL_GPIO_Init(GPIOB, &GPIO_InitStruct);

  /*Configure GPIO pins : PD8 PD9 */
  GPIO_InitStruct.Pin = GPIO_PIN_8|GPIO_PIN_9;
  GPIO_InitStruct.Mode = GPIO_MODE_AF_PP;
  GPIO_InitStruct.Pull = GPIO_NOPULL;
  GPIO_InitStruct.Speed = GPIO_SPEED_FREQ_VERY_HIGH;
  GPIO_InitStruct.Alternate = GPIO_AF7_USART3;
  HAL_GPIO_Init(GPIOD, &GPIO_InitStruct);

  /*Configure GPIO pin : PC6 */
  GPIO_InitStruct.Pin = GPIO_PIN_6;
  GPIO_InitStruct.Mode = GPIO_MODE_AF_PP;
  GPIO_InitStruct.Pull = GPIO_NOPULL;
  GPIO_InitStruct.Speed = GPIO_SPEED_FREQ_LOW;
  GPIO_InitStruct.Alternate = GPIO_AF13_SAI2;
  HAL_GPIO_Init(GPIOC, &GPIO_InitStruct);

  /*Configure GPIO pin : PC9 */
  GPIO_InitStruct.Pin = GPIO_PIN_9;
  GPIO_InitStruct.Mode = GPIO_MODE_AF_PP;
  GPIO_InitStruct.Pull = GPIO_NOPULL;
  GPIO_InitStruct.Speed = GPIO_SPEED_FREQ_VERY_HIGH;
  GPIO_InitStruct.Alternate = GPIO_AF12_SDMMC1;
  HAL_GPIO_Init(GPIOC, &GPIO_InitStruct);

  /*Configure GPIO pins : PA8 PA10 */
  GPIO_InitStruct.Pin = GPIO_PIN_8|GPIO_PIN_10;
  GPIO_InitStruct.Mode = GPIO_MODE_AF_PP;
  GPIO_InitStruct.Pull = GPIO_NOPULL;
  GPIO_InitStruct.Speed = GPIO_SPEED_FREQ_VERY_HIGH;
  GPIO_InitStruct.Alternate = GPIO_AF10_OTG_FS;
  HAL_GPIO_Init(GPIOA, &GPIO_InitStruct);

  /*Configure GPIO pin : PA9 */
  GPIO_InitStruct.Pin = GPIO_PIN_9;
  GPIO_InitStruct.Mode = GPIO_MODE_INPUT;
  GPIO_InitStruct.Pull = GPIO_NOPULL;
  HAL_GPIO_Init(GPIOA, &GPIO_InitStruct);

  /*Configure GPIO pin : PD2 */
  GPIO_InitStruct.Pin = GPIO_PIN_2;
  GPIO_InitStruct.Mode = GPIO_MODE_AF_PP;
  GPIO_InitStruct.Pull = GPIO_NOPULL;
  GPIO_InitStruct.Speed = GPIO_SPEED_FREQ_VERY_HIGH;
  GPIO_InitStruct.Alternate = GPIO_AF12_SDMMC1;
  HAL_GPIO_Init(GPIOD, &GPIO_InitStruct);

  /*Configure GPIO pins : PB8 PB9 */
  GPIO_InitStruct.Pin = GPIO_PIN_8|GPIO_PIN_9;
  GPIO_InitStruct.Mode = GPIO_MODE_AF_OD;
  GPIO_InitStruct.Pull = GPIO_NOPULL;
  GPIO_InitStruct.Speed = GPIO_SPEED_FREQ_VERY_HIGH;
  GPIO_InitStruct.Alternate = GPIO_AF4_I2C1;
  HAL_GPIO_Init(GPIOB, &GPIO_InitStruct);

  /* EXTI interrupt init*/
  HAL_NVIC_SetPriority(EXTI9_5_IRQn, 0, 0);
  HAL_NVIC_EnableIRQ(EXTI9_5_IRQn);

}

/* USER CODE BEGIN 4 */
#ifdef __GNUC__
#define PUTCHAR_PROTOTYPE int __io_putchar(int ch)
#else
  #define PUTCHAR_PROTOTYPE int fputc(int ch, FILE *f)
#endif /* __GNUC__ */
PUTCHAR_PROTOTYPE
{
  HAL_UART_Transmit(&hlpuart1, (uint8_t *)&ch, 1, 0xFFFF);
  return ch;
}

void HAL_UARTEx_RxEventCallback(UART_HandleTypeDef *huart, uint16_t Size) {
    if (huart->Instance == USART2) {
        memcpy(kociemba_string, rx_kociemba, Size); // copy data and make it readable
        kociemba_string[Size] = '\0';

        solve_ready_flag = 1;
    }
}
/* USER CODE END 4 */

void Error_Handler(void)
{
  __disable_irq();
  while (1)
  {
  }
}
